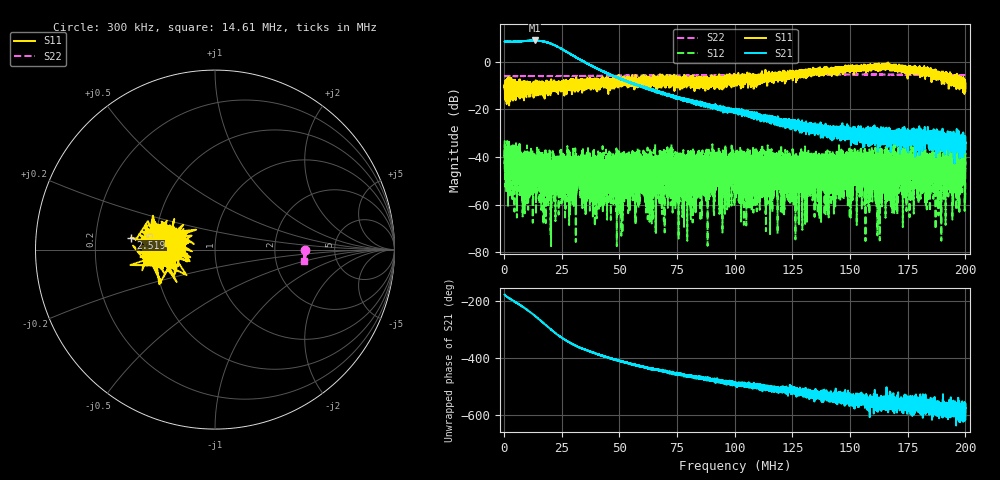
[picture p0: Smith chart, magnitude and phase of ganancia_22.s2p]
# Hz S DB R 50
! CMT, M5065, 19127446, 24.2.4/2
! Date: 10/29/2024 1:14:22 PM
! Data: Format (Calibration Info)
! Freq	S11:dB/Ang(F2)	S21:dB/Ang(F2)	S12:dB/Ang(F2)	S22:dB/Ang(F2)
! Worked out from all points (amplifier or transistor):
!   9000 points, 300 kHz to 200 MHz, reference 50 ohm
!   highest |S21| = 9.0 dB at 13.26 MHz (marker M1)
!   |S21| within 3 dB of that: start of sweep to 23.93 MHz
!   unconditionally stable (mu >= 1): start of sweep to end of sweep
!   at 33.59 MHz: K = 111.10, MAG = 2.4 dB, |S12| = -51.2 dB
!   at 100.2 MHz: K = 433.59, MAG = -18.8 dB, |S12| = -42.3 dB
!   at 200 MHz: K = 3485.60, MAG = -32.2 dB, |S12| = -46.4 dB
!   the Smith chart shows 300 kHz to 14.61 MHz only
!   S11 on the Smith chart (normalised r, x): 300 kHz: 0.55, -0.06; 2.519 MHz: 0.36, +0.06; 14.61 MHz: 0.59, +0.05
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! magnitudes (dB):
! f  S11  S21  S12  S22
! 300 kHz  -10.7  8.4  -36.7  -6.0
! 2.519 MHz  -6.5  8.4  -41.0  -6.1
! 8.6 MHz  -10.8  8.7  -52.1  -6.0
! 13.26 MHz  -11.9  9.0  -51.8  -6.0
! 14.61 MHz  -11.6  8.9  -47.0  -6.0
! 19.7 MHz  -10.3  7.8  -52.4  -6.0
! 23.73 MHz  -10.1  6.1  -46.9  -6.0
! 33.59 MHz  -9.2  0.6  -51.2  -5.9
! 53.78 MHz  -7.7  -8.3  -46.4  -5.8
! 55.76 MHz  -7.5  -9.2  -42.3  -5.8
! 62.01 MHz  -8.7  -11.1  -40.9  -5.8
! 66.87 MHz  -8.3  -12.7  -51.5  -5.7
! 88.4 MHz  -9.5  -18.3  -54.2  -5.7
! 92.11 MHz  -8.1  -19.2  -43.9  -5.7
! 93.79 MHz  -8.2  -20.0  -43.4  -5.7
! 100.2 MHz  -7.1  -21.1  -42.3  -5.7
! 133.4 MHz  -4.8  -28.5  -42.8  -5.4
! 141 MHz  -4.4  -29.4  -49.8  -5.4
! 148.5 MHz  -3.8  -30.2  -52.1  -5.3
! 166.7 MHz  -2.7  -32.0  -49.2  -5.4
! 191.1 MHz  -8.0  -33.2  -48.8  -5.5
! 200 MHz  -12.1  -33.9  -46.4  -5.5
